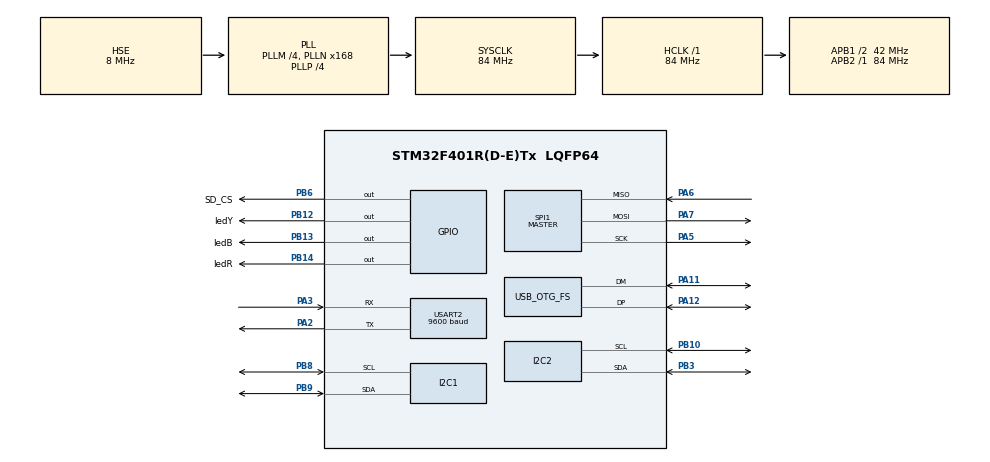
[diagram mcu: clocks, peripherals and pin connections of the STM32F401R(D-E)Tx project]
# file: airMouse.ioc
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FREERTOS.Tasks01=moveMouse,48,1024,move,Default,NULL,Dynamic,NULL,NULL;rightLeftAlt,48,1024,right_left_alt,Default,NULL,Dynamic,NULL,NULL;zoom,48,1024,zoom_mouse,Default,NULL,Dynamic,NULL,NULL;sdWrite,48,256,sd,Default,NULL,Dynamic,NULL,NULL;resetMouse,48,128,reset_mouse,Default,NULL,Dynamic,NULL,NULL;readAll,48,128,read_all,Default,NULL,Dynamic,NULL,NULL
Mcu.Family=STM32F4
Mcu.Name=STM32F401R(D-E)Tx
Mcu.Package=LQFP64
NVIC.OTG_FS_IRQn=true\:5\:0\:false\:false\:true\:true\:false\:true\:true
NVIC.PriorityGroup=NVIC_PRIORITYGROUP_4
NVIC.TIM5_IRQn=true\:15\:0\:false\:false\:true\:false\:false\:true\:true
NVIC.TimeBase=TIM5_IRQn
NVIC.TimeBaseIP=TIM5
NVIC.USART2_IRQn=true\:5\:0\:false\:false\:true\:true\:true\:true\:true
PA11.Mode=Device_Only
PA11.Signal=USB_OTG_FS_DM
PA12.Mode=Device_Only
PA12.Signal=USB_OTG_FS_DP
PA13.Mode=Serial_Wire
PA13.Signal=SYS_JTMS-SWDIO
PA14.Mode=Serial_Wire
PA14.Signal=SYS_JTCK-SWCLK
PA2.Mode=Asynchronous
PA2.Signal=USART2_TX
PA3.Mode=Asynchronous
PA3.Signal=USART2_RX
PA5.GPIO_PuPd=GPIO_PULLUP
PA5.Mode=Full_Duplex_Master
PA5.Signal=SPI1_SCK
PA6.GPIO_PuPd=GPIO_PULLUP
PA6.Mode=Full_Duplex_Master
PA6.Signal=SPI1_MISO
PA7.GPIO_PuPd=GPIO_PULLUP
PA7.Mode=Full_Duplex_Master
PA7.Signal=SPI1_MOSI
PB10.Mode=I2C
PB10.Signal=I2C2_SCL
PB12.GPIO_Label=ledY
PB12.Signal=GPIO_Output
PB13.GPIO_Label=ledB
PB13.Signal=GPIO_Output
PB14.GPIO_Label=ledR
PB14.Signal=GPIO_Output
PB3.Mode=I2C
PB3.Signal=I2C2_SDA
PB6.GPIO_Label=SD_CS
PB6.Signal=GPIO_Output
PB8.Mode=I2C
PB8.Signal=I2C1_SCL
PB9.Mode=I2C
PB9.Signal=I2C1_SDA
PC14-OSC32_IN.Mode=LSE-External-Oscillator
PC14-OSC32_IN.Signal=RCC_OSC32_IN
PC15-OSC32_OUT.Mode=LSE-External-Oscillator
PC15-OSC32_OUT.Signal=RCC_OSC32_OUT
PH0\ -\ OSC_IN.Mode=HSE-External-Clock-Source
PH0\ -\ OSC_IN.Signal=RCC_OSC_IN
PH1\ -\ OSC_OUT.Mode=HSE-External-Clock-Source
PH1\ -\ OSC_OUT.Signal=RCC_OSC_OUT
ProjectManager.HeapSize=0x1000
ProjectManager.StackSize=0x400
ProjectManager.TargetToolchain=STM32CubeIDE
RCC.48MHZClocksFreq_Value=48000000
RCC.AHBFreq_Value=84000000
RCC.APB1CLKDivider=RCC_HCLK_DIV2
RCC.APB1Freq_Value=42000000
RCC.APB1TimFreq_Value=84000000
RCC.APB2Freq_Value=84000000
RCC.APB2TimFreq_Value=84000000
RCC.CortexFreq_Value=84000000
RCC.HCLKFreq_Value=84000000
RCC.HSE_VALUE=8000000
RCC.HSI_VALUE=16000000
RCC.PLLM=4
RCC.PLLN=168
RCC.PLLP=RCC_PLLP_DIV4
RCC.PLLQ=7
RCC.SYSCLKFreq_VALUE=84000000
RCC.SYSCLKSource=RCC_SYSCLKSOURCE_PLLCLK
RCC.VCOOutputFreq_Value=336000000
SPI1.BaudRatePrescaler=SPI_BAUDRATEPRESCALER_128
SPI1.Direction=SPI_DIRECTION_2LINES
SPI1.Mode=SPI_MODE_MASTER
SPI1.VirtualType=VM_MASTER
USART2.BaudRate=9600
USART2.VirtualMode=VM_ASYNC
USB_DEVICE.CLASS_NAME_FS=HID
USB_DEVICE.VirtualMode-HID_FS=Hid
USB_DEVICE.VirtualModeFS=Hid_FS
USB_OTG_FS.VirtualMode=Device_Only
VP_FATFS_VS_Generic.Mode=User_defined
VP_FREERTOS_VS_CMSIS_V2.Mode=CMSIS_V2
VP_SYS_VS_tim5.Mode=TIM5
VP_USB_DEVICE_VS_USB_DEVICE_HID_FS.Mode=HID_FS
board=custom

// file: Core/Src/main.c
/* USER CODE BEGIN Header */
/**
 ******************************************************************************
 * @file           : main.c
 * @brief          : Main program body
 ******************************************************************************
 * @attention
 *
 * Copyright (c) 2022 STMicroelectronics.
 * All rights reserved.
 *
 * This software is licensed under terms that can be found in the LICENSE file
 * in the root directory of this software component.
 * If no LICENSE file comes with this software, it is provided AS-IS.
 *
 ******************************************************************************
 */
/* USER CODE END Header */
#include <dynamic_queue.h>
#include "main.h"

#include "cmsis_os.h"
#include "fatfs.h"
#include "usb_device.h"

/* USER CODE BEGIN Includes */
#include <math.h>
#include <stdarg.h>  //for va_list var arg functions
#include <stdio.h>
#include <string.h>

#include "ds3231.h"
#include "gpio.h"
#include "i2c.h"
#include "mouse.h"
#include "mpu6050.h"

/* USER CODE END Includes */

/* USER CODE BEGIN PD */
#define SD_SPI_HANDLE hspi1
/* USER CODE END PD */

/* USER CODE BEGIN PM */
SPI_HandleTypeDef hspi1;
extern MPU6050 mpu6050_1;
extern MPU6050 mpu6050_2;
int left = 0;
char buffer[25];
char stamp[255];
char stamp1[255];
char moveString[255];
TQueue q;
/* USER CODE END PM */

SPI_HandleTypeDef hspi1;

/* Definitions for moveMouse */
osThreadId_t moveMouseHandle;
const osThreadAttr_t moveMouse_attributes = {
    .name = "moveMouse",
    .stack_size = 1024 * 4,
    .priority = (osPriority_t)osPriorityRealtime,
};
/* Definitions for rightLeftAlt */
osThreadId_t rightLeftAltHandle;
const osThreadAttr_t rightLeftAlt_attributes = {
    .name = "rightLeftAlt",
    .stack_size = 1024 * 4,
    .priority = (osPriority_t)osPriorityRealtime,
};
/* Definitions for zoom */
osThreadId_t zoomHandle;
const osThreadAttr_t zoom_attributes = {
    .name = "zoom",
    .stack_size = 1024 * 4,
    .priority = (osPriority_t)osPriorityRealtime,
};
/* Definitions for sdWrite */
osThreadId_t sdWriteHandle;
const osThreadAttr_t sdWrite_attributes = {
    .name = "sdWrite",
    .stack_size = 256 * 4,
    .priority = (osPriority_t)osPriorityRealtime,
};
/* Definitions for resetMouse */
osThreadId_t resetMouseHandle;
const osThreadAttr_t resetMouse_attributes = {
    .name = "resetMouse",
    .stack_size = 128 * 4,
    .priority = (osPriority_t)osPriorityRealtime,
};
/* Definitions for readAll */
osThreadId_t readAllHandle;
const osThreadAttr_t readAll_attributes = {
    .name = "readAll",
    .stack_size = 128 * 4,
    .priority = (osPriority_t)osPriorityRealtime,
};

void SystemClock_Config(void);
static void MX_SPI1_Init(void);
void move(void *argument);
void right_left_alt(void *argument);
void zoom_mouse(void *argument);
void sd(void *argument);
void reset_mouse(void *argument);
void read_all(void *argument);

/* USER CODE BEGIN 0 */

/**
 * @brief  This function save the data to be written on sd into a queue
 * @param event   String which represent the event type
 */
void MPU6050_to_sd(char *event) {
    time_to_string(buffer);
    queueAdd(&q, buffer);

    queueAdd(&q, event);

    snprintf(stamp, 255, "accel1: (%.3f,%.3f,%.3f);gyro1: (%.3f,%.3f,%.3f); ",
             mpu6050_1.ax, mpu6050_1.ay, mpu6050_1.az, mpu6050_1.gx,
             mpu6050_1.gy, mpu6050_1.gz);

    queueAdd(&q, stamp);

    snprintf(stamp1, 255,
             "accel2: (%.3f,%.3f,%.3f);gyro2: (%.3f,%.3f,%.3f); \n",
             mpu6050_2.ax, mpu6050_2.ay, mpu6050_2.az, mpu6050_2.gx,
             mpu6050_2.gy, mpu6050_2.gz);

    queueAdd(&q, stamp1);
}

/* USER CODE END 0 */

int main(void) {

    /* MCU
     * Configuration--------------------------------------------------------*/

    /* Reset of all peripherals, Initializes the Flash interface and the
     * Systick. */
    HAL_Init();

    /* Configure the system clock */
    SystemClock_Config();

    /* Initialize all configured peripherals */
    MX_GPIO_Init();
    MX_FATFS_Init();
    MX_USART2_UART_Init();
    MX_SPI1_Init();
    MX_I2C1_Init();
    MX_I2C2_Init();
    /* USER CODE BEGIN 2 */
    // set_time(0, 44, 18, 7, 2, 7, 22);
    HAL_GPIO_WritePin(GPIOB, ledY_Pin, GPIO_PIN_SET);
    HAL_GPIO_WritePin(GPIOB, ledR_Pin, GPIO_PIN_SET);
    HAL_GPIO_WritePin(GPIOB, ledB_Pin, GPIO_PIN_SET);
    sd_init();
    HAL_GPIO_WritePin(GPIOB, ledB_Pin, GPIO_PIN_RESET);
    sd_unmount();
    MPU6050_init();
    HAL_GPIO_WritePin(GPIOB, ledR_Pin, GPIO_PIN_RESET);
    sd_write("\n\n\n\n******** START LOG ********\n");
    q = queueCreate();

    /* USER CODE END 2 */

    /* Init scheduler */
    osKernelInitialize();

    /* Create the thread(s) */
    /* creation of moveMouse */
    moveMouseHandle = osThreadNew(move, NULL, &moveMouse_attributes);

    /* creation of rightLeftAlt */
    rightLeftAltHandle =
        osThreadNew(right_left_alt, NULL, &rightLeftAlt_attributes);

    /* creation of zoom */
    zoomHandle = osThreadNew(zoom_mouse, NULL, &zoom_attributes);

    /* creation of sdWrite */
    sdWriteHandle = osThreadNew(sd, NULL, &sdWrite_attributes);

    /* creation of resetMouse */
    resetMouseHandle = osThreadNew(reset_mouse, NULL, &resetMouse_attributes);

    /* creation of readAll */
    readAllHandle = osThreadNew(read_all, NULL, &readAll_attributes);

    /* Start scheduler */
    osKernelStart();

    /* We should never get here as control is now taken by the scheduler */
    /* Infinite loop */
    while (1) {

    }
}

void SystemClock_Config(void) {
    RCC_OscInitTypeDef RCC_OscInitStruct = {0};
    RCC_ClkInitTypeDef RCC_ClkInitStruct = {0};

    /** Configure the main internal regulator output voltage
     */
    __HAL_RCC_PWR_CLK_ENABLE();
    __HAL_PWR_VOLTAGESCALING_CONFIG(PWR_REGULATOR_VOLTAGE_SCALE2);

    /** Initializes the RCC Oscillators according to the specified parameters
     * in the RCC_OscInitTypeDef structure.
     */
    RCC_OscInitStruct.OscillatorType = RCC_OSCILLATORTYPE_HSE;
    RCC_OscInitStruct.HSEState = RCC_HSE_BYPASS;
    RCC_OscInitStruct.PLL.PLLState = RCC_PLL_ON;
    RCC_OscInitStruct.PLL.PLLSource = RCC_PLLSOURCE_HSE;
    RCC_OscInitStruct.PLL.PLLM = 4;
    RCC_OscInitStruct.PLL.PLLN = 168;
    RCC_OscInitStruct.PLL.PLLP = RCC_PLLP_DIV4;
    RCC_OscInitStruct.PLL.PLLQ = 7;
    if (HAL_RCC_OscConfig(&RCC_OscInitStruct) != HAL_OK) {
        Error_Handler();
    }

    /** Initializes the CPU, AHB and APB buses clocks
     */
    RCC_ClkInitStruct.ClockType = RCC_CLOCKTYPE_HCLK | RCC_CLOCKTYPE_SYSCLK |
                                  RCC_CLOCKTYPE_PCLK1 | RCC_CLOCKTYPE_PCLK2;
    RCC_ClkInitStruct.SYSCLKSource = RCC_SYSCLKSOURCE_PLLCLK;
    RCC_ClkInitStruct.AHBCLKDivider = RCC_SYSCLK_DIV1;
    RCC_ClkInitStruct.APB1CLKDivider = RCC_HCLK_DIV2;
    RCC_ClkInitStruct.APB2CLKDivider = RCC_HCLK_DIV1;

    if (HAL_RCC_ClockConfig(&RCC_ClkInitStruct, FLASH_LATENCY_2) != HAL_OK) {
        Error_Handler();
    }
}

static void MX_SPI1_Init(void) {

    /* SPI1 parameter configuration*/
    hspi1.Instance = SPI1;
    hspi1.Init.Mode = SPI_MODE_MASTER;
    hspi1.Init.Direction = SPI_DIRECTION_2LINES;
    hspi1.Init.DataSize = SPI_DATASIZE_8BIT;
    hspi1.Init.CLKPolarity = SPI_POLARITY_LOW;
    hspi1.Init.CLKPhase = SPI_PHASE_1EDGE;
    hspi1.Init.NSS = SPI_NSS_SOFT;
    hspi1.Init.BaudRatePrescaler = SPI_BAUDRATEPRESCALER_128;
    hspi1.Init.FirstBit = SPI_FIRSTBIT_MSB;
    hspi1.Init.TIMode = SPI_TIMODE_DISABLE;
    hspi1.Init.CRCCalculation = SPI_CRCCALCULATION_DISABLE;
    hspi1.Init.CRCPolynomial = 10;
    if (HAL_SPI_Init(&hspi1) != HAL_OK) {
        Error_Handler();
    }
}

/* USER CODE BEGIN Header_move */
/**
 * @brief  Function to manage movement of the mouse
 * @param  argument: Not used
 * @retval None
 */
/* USER CODE END Header_move */
void move(void *argument) {
    /* init code for USB_DEVICE */
    MX_USB_DEVICE_Init();
    /* USER CODE BEGIN 5 */
    /* Infinite loop */
    for (;;) {
        osDelay(1);
        if ((mpu6050_1.ax > 0.10 || mpu6050_1.ax < -0.10) &&
            (mpu6050_1.ay > 0.10 || mpu6050_1.ay < -0.10)) {
            mouse_move(mpu6050_1.ay * 30, -mpu6050_1.ax * 60);
            // string_to_uart("move");
            // string_to_uart("\n \r");
            snprintf(moveString, 255, "MOVE TO: (%.2f, %.2f) - ",
                     mpu6050_1.ay * 30, -mpu6050_1.ax * 60);
            MPU6050_to_sd(moveString);
        } else if (mpu6050_1.ax > 0.10 || mpu6050_1.ax < -0.10) {
            mouse_move(0, -mpu6050_1.ax * 60);
            // string_to_uart("move");
            // string_to_uart("\n \r");
            snprintf(moveString, 255, "MOVE TO: (%.2f, %.2f) - ",
                     mpu6050_1.ay * 30, -mpu6050_1.ax * 60);
            MPU6050_to_sd(moveString);
        } else if (mpu6050_1.ay > 0.10 || mpu6050_1.ay < -0.10) {
            mouse_move(mpu6050_1.ay * 30, 0);
            // string_to_uart("move");
            // string_to_uart("\n \r");
            snprintf(moveString, 255, "MOVE TO: (%.2f, %.2f) - ",
                     mpu6050_1.ay * 30, -mpu6050_1.ax * 60);
            MPU6050_to_sd(moveString);
        }
    }
    /* USER CODE END 5 */
}

/* USER CODE BEGIN Header_right_left_alt */
/**
 * @brief Function to manage left click, right click and alt-tab
 * @param argument: Not used
 * @retval None
 */
/* USER CODE END Header_right_left_alt */
void right_left_alt(void *argument) {
    /* USER CODE BEGIN right_left_alt */
    /* Infinite loop */
    for (;;) {
        osDelay(1);
        if (mpu6050_2.ax > 0.5) {
            mouse_right_click();
            // string_to_uart("right");
            // string_to_uart("\n \r");
            MPU6050_to_sd("RIGHT CLICK - ");
            while (mpu6050_2.ax > 0.5) {
            }
        }
        if (mpu6050_2.ax < -0.5) {
            mouse_left_click();
            // string_to_uart("left");
            // string_to_uart("\n \r");
            MPU6050_to_sd("LEFT CLICK - ");
            while (mpu6050_2.ax < -0.5) {
            }
            left++;
        }
        if (mpu6050_1.angle_y > 80 && mpu6050_2.angle_y > 80 &&
            mpu6050_2.gx > 80 && mpu6050_1.gx > 80) {
            mouse_macro1();
            // string_to_uart("alt-tab");
            // string_to_uart("\n \r");
            MPU6050_to_sd("ALT-TAB - ");
        }
    }
    /* USER CODE END right_left_alt */
}

/* USER CODE BEGIN Header_zoom_mouse */
/**
 * @brief Function to manage zoom-in and zoom-out
 * @param argument: Not used
 * @retval None
 */
/* USER CODE END Header_zoom_mouse */
void zoom_mouse(void *argument) {
    /* USER CODE BEGIN zoom_mouse */
    /* Infinite loop */
    for (;;) {
        osDelay(1);
        if (left > 0) {
            osDelay(1500);
            if (left == 4) {  // zoom-out
                mouse_macro3();
                // string_to_uart("zoom-");
                // string_to_uart("\n \r");
                MPU6050_to_sd("ZOOM-OUT - ");
            }
            if (left == 3) {  // zoom-in
                mouse_macro2();
                // string_to_uart("zoom+");
                // string_to_uart("\n \r");
                MPU6050_to_sd("ZOOM-IN - ");
            }
            left = 0;
        }
    }
    /* USER CODE END zoom_mouse */
}

/* USER CODE BEGIN Header_sd */
/**
 * @brief Function for writing on sd card from a queue
 * @param argument: Not used
 * @retval None
 */
/* USER CODE END Header_sd */
void sd(void *argument) {
    /* USER CODE BEGIN sd */
    /* Infinite loop */
    for (;;) {
        osDelay(1);
        while (!queueIsEmpty(&q)) {
            sd_write(queueRemove(&q));
        }
    }
    /* USER CODE END sd */
}

/* USER CODE BEGIN Header_reset_mouse */
/**
 * @brief Function to reset mouse click
 * @param argument: Not used
 * @retval None
 */
/* USER CODE END Header_reset_mouse */
void reset_mouse(void *argument) {
    /* USER CODE BEGIN reset_mouse */
    /* Infinite loop */
    for (;;) {
        osDelay(1);
        if (mpu6050_2.ax < 0.5 && mpu6050_2.ax > -0.5) mouse_reset_btn();
    }
    /* USER CODE END reset_mouse */
}

/* USER CODE BEGIN Header_read_all */
/**
 * @brief Function to read current accelerometers and gyros values
 * @param argument: Not used
 * @retval None
 */
/* USER CODE END Header_read_all */
void read_all(void *argument) {
    /* USER CODE BEGIN read_all */
    /* Infinite loop */
    for (;;) {
        osDelay(1);
        MPU6050_convert();
    }
    /* USER CODE END read_all */
}

void HAL_TIM_PeriodElapsedCallback(TIM_HandleTypeDef *htim) {
    if (htim->Instance == TIM5) {
        HAL_IncTick();
    }
}

void Error_Handler(void) {
    /* USER CODE BEGIN Error_Handler_Debug */
    /* User can add his own implementation to report the HAL error return state
     */
    __disable_irq();
    while (1) {
    }
    /* USER CODE END Error_Handler_Debug */
}

#ifdef USE_FULL_ASSERT
/**
 * @brief  Reports the name of the source file and the source line number
 *         where the assert_param error has occurred.
 * @param  file: pointer to the source file name
 * @param  line: assert_param error line source number
 * @retval None
 */
void assert_failed(uint8_t *file, uint32_t line) {
    /* USER CODE BEGIN 6 */
    /* User can add his own implementation to report the file name and line
       number, ex: printf("Wrong parameters value: file %s on line %d\r\n",
       file, line) */
    /* USER CODE END 6 */
}
#endif /* USE_FULL_ASSERT */
